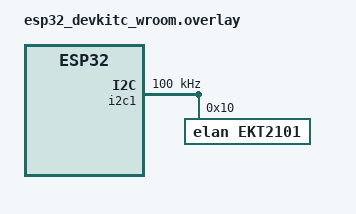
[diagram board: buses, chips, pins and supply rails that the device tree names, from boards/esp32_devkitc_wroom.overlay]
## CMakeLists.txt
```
#
# Copyright (c) 2024, Muhammad Waleed Badar
#
# SPDX-License-Identifier: Apache-2.0
#

cmake_minimum_required(VERSION 3.20.0)
find_package(Zephyr REQUIRED HINTS $ENV{ZEPHYR_BASE})
project(ekt2101)

FILE(GLOB app_sources src/*.c)
target_sources(app PRIVATE ${app_sources})
```

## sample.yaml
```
sample:
  name: EKT2101 capacitive touchpad
tests:
  sample.sensor.ekt2101:
    harness: sensor
    tags:
      - samples
      - sensor
    depends_on:
      - i2c
      - ekt2101
```

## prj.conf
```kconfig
CONFIG_LOG=y
CONFIG_GPIO=y
CONFIG_I2C=y
CONFIG_SENSOR=y
CONFIG_EKT2101=y
```

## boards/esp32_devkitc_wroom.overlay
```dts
/*
 * Copyright (c) 2024, Muhammad Waleed Badar
 *
 * SPDX-License-Identifier: Apache-2.0
 */

&i2c1 {
	status = "okay";
	clock-frequency = <I2C_BITRATE_STANDARD>;

	ekt2101: ekt2101@10 {
		compatible = "elan,ekt2101";
		reg = <0x10>;
        status = "okay";
	};
};
```

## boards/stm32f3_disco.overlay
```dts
/*
 * Copyright (c) 2024, Muhammad Waleed Badar
 *
 * SPDX-License-Identifier: Apache-2.0
 */

&i2c1 {
	status = "okay";
	clock-frequency = <I2C_BITRATE_STANDARD>;

	ekt2101: ekt2101@10 {
		compatible = "elan,ekt2101";
		reg = <0x10>;
        int-gpios = <&gpioa 1 GPIO_ACTIVE_HIGH>;
	};
};
```

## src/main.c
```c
/*
 * Copyright (c) 2024, Muhammad Waleed Badar
 *
 * SPDX-License-Identifier: Apache-2.0
 */

#include <zephyr/kernel.h>
#include <zephyr/device.h>
#include <zephyr/drivers/sensor.h>

const struct device *const touchpad = DEVICE_DT_GET_ONE(elan_ekt2101);

static void trigger_handler(const struct device *dev,
			    const struct sensor_trigger *trigger)
{
		int ret = sensor_sample_fetch(touchpad);
		if (ret < 0 && ret != -EBADMSG)
			printk("Sensor sample update error\n");
		
}

static int32_t read_sensor(const struct device *sensor)
{
	struct sensor_value button_val;
	int32_t ret = 0;

	struct sensor_trigger trig = {
		.type = SENSOR_TRIG_THRESHOLD,
	};

	ret = sensor_trigger_set(sensor, &trig, trigger_handler);
	if (ret != 0) {
		printf("Could not set trigger\n");
		return ret;
	}

	while (1) {
		printk("Touchpad data:\n");

		ret = sensor_channel_get(sensor, 0, &button_val);
		if (ret < 0) {
			printk("Cannot read sensor channels\n");
			return ret;
		}

		k_msleep(1000);
	}	
}

int main(void)
{
	if (!device_is_ready(touchpad)) {
		printk("sensor: device not ready.\n");
		return -ENODEV;
	}

	printf("device is %p, name is %s\n", touchpad, touchpad->name);

	read_sensor(touchpad);
	return 0;
}
```
